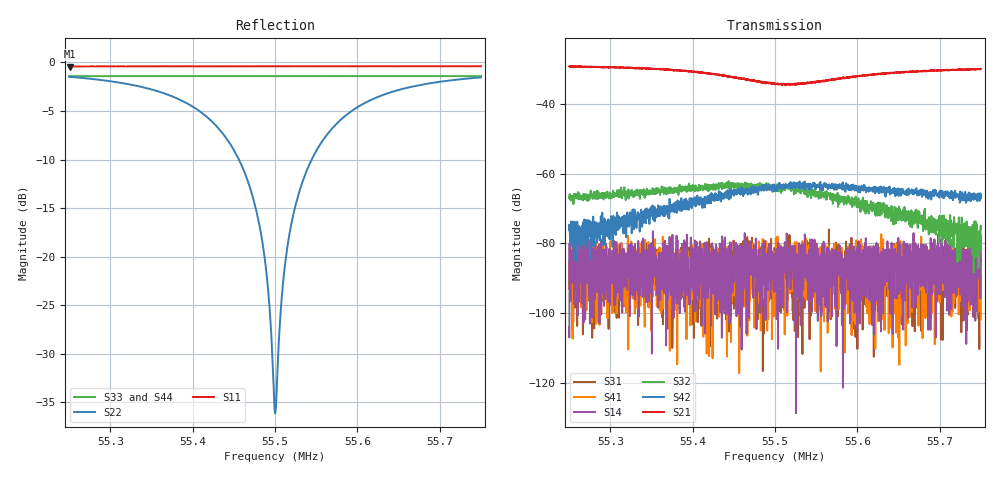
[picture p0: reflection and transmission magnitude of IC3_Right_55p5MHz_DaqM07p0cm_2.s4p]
#  HZ  S  DB  R  50.00
! Rohde & Schwarz Vector Network Analyzer
! Rohde-Schwarz,ZNB8-4Port,1311601044102961,2.82
! Created: UTC 2/13/2019, 2:00:56 PM
! freq[Hz]  db:S11  ang:S11  db:S12  ang:S12  db:S13  ang:S13  db:S14  ang:S14
!  db:S21  ang:S21  db:S22  ang:S22  db:S23  ang:S23  db:S24  ang:S24
!  db:S31  ang:S31  db:S32  ang:S32  db:S33  ang:S33  db:S34  ang:S34
!  db:S41  ang:S41  db:S42  ang:S42  db:S43  ang:S43  db:S44  ang:S44
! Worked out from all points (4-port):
!   2001 points, 55.25 MHz to 55.75 MHz, reference 50 ohm
!   strongest paths, dB at 55.25 MHz, 55.375 MHz, 55.5 MHz, 55.625 MHz, 55.75 MHz:
!     S21: -29.3, -30.4, -34.3, -31.4, -30.0
!     S42: -76.2, -70.3, -64.3, -64.8, -66.1
!     S32: -66.7, -65.1, -63.8, -68.3, -75.9
!     S14: -104.2, -83.6, -91.2, -81.0, -77.8
!     S41: -88.2, -89.3, -93.1, -90.0, -101.8
!     S31: -92.9, -93.4, -82.5, -89.9, -88.5
!   lowest |S11| = -0.4 dB at 55.251 MHz (marker M1), VSWR 41.69, Z = 2.12 + j43.8 ohm
!   |S11| at or under -10 dB: nowhere
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5.525e7  -0.42 97.5  -29.31 73.4  -87.57 -28.2  -104.16 175.0
         -29.31 73.4  -1.48 -133.4  -67.74 -152.7  -84.53 -10.0
         -92.92 130.3  -66.65 -147.9  -1.41 24.7  -87.51 -150.0
         -88.17 -27.2  -76.22 8.3  -98.54 98.5  -1.43 31.2
5.5251e7  -0.42 97.5  -29.32 73.2  -84.76 -65.2  -91.99 -25.2
          -29.45 72.9  -1.49 -133.6  -65.66 -159.2  -79.29 -2.5
          -84.96 -124.7  -67.32 -161.1  -1.42 24.7  -96.41 -172.4
          -90.51 -120.9  -78.12 -6.0  -89.14 105.4  -1.43 31.2
5.544525e7  -0.40 93.8  -32.20 57.2  -84.91 55.1  -79.66 -175.4
            -32.30 57.5  -8.35 177.1  -63.63 168.4  -66.13 -37.7
            -81.38 12.4  -63.30 161.9  -1.41 22.2  -89.01 -29.7
            -90.01 153.6  -65.25 -30.4  -83.28 116.8  -1.42 28.8
5.54825e7  -0.40 93.2  -33.85 61.5  -86.36 -98.4  -86.81 -56.0
           -33.94 61.3  -17.42 163.6  -63.06 147.0  -64.81 -48.5
           -86.04 56.4  -63.58 145.0  -1.41 21.8  -84.88 -126.8
           -94.52 -122.0  -64.21 -49.4  -88.74 65.0  -1.42 28.3
5.550025e7  -0.39 92.8  -34.34 67.3  -88.29 -88.1  -89.04 167.4
            -34.49 67.7  -36.14 -122.3  -64.77 138.3  -64.56 -51.5
            -84.11 -6.4  -64.14 141.0  -1.41 21.6  -91.69 -23.5
            -86.00 129.8  -64.10 -63.4  -87.34 -152.6  -1.43 28.1
5.555525e7  -0.39 91.8  -33.46 83.4  -81.94 14.1  -85.74 71.0
            -33.75 82.8  -8.39 -61.7  -65.53 117.6  -63.38 -79.0
            -88.30 106.2  -65.31 116.1  -1.41 20.8  -97.32 115.5
            -81.08 92.0  -63.63 -82.6  -89.22 110.7  -1.42 27.4
5.575e7  -0.39 88.3  -30.03 76.7  -86.95 -98.8  -77.78 81.8
         -30.02 77.0  -1.54 -111.1  -75.80 49.2  -65.98 -126.6
         -88.48 84.4  -75.88 59.9  -1.40 18.4  -89.35 -25.4
         -101.76 -176.4  -66.07 -123.6  -83.85 79.7  -1.42 25.0
